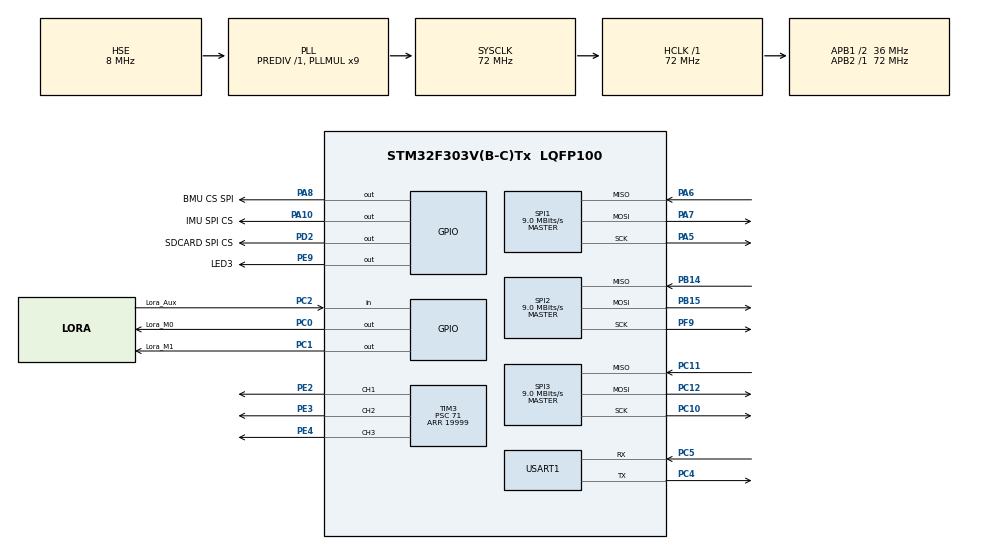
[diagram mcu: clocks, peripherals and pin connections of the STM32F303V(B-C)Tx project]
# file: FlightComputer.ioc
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Mcu.Family=STM32F3
Mcu.Name=STM32F303V(B-C)Tx
Mcu.Package=LQFP100
NVIC.PriorityGroup=NVIC_PRIORITYGROUP_4
NVIC.TIM6_DAC_IRQn=true\:0\:0\:false\:false\:true\:true\:true\:true
PA10.GPIO_Label=IMU SPI CS
PA10.GPIO_PuPd=GPIO_NOPULL
PA10.GPIO_Speed=GPIO_SPEED_FREQ_HIGH
PA10.PinState=GPIO_PIN_SET
PA10.Signal=GPIO_Output
PA5.Mode=Full_Duplex_Master
PA5.Signal=SPI1_SCK
PA6.Mode=Full_Duplex_Master
PA6.Signal=SPI1_MISO
PA7.Mode=Full_Duplex_Master
PA7.Signal=SPI1_MOSI
PA8.GPIO_Label=BMU CS SPI
PA8.GPIO_ModeDefaultOutputPP=GPIO_MODE_OUTPUT_PP
PA8.GPIO_PuPd=GPIO_NOPULL
PA8.GPIO_Speed=GPIO_SPEED_FREQ_HIGH
PA8.PinState=GPIO_PIN_SET
PA8.Signal=GPIO_Output
PB14.Mode=Full_Duplex_Master
PB14.Signal=SPI2_MISO
PB15.Mode=Full_Duplex_Master
PB15.Signal=SPI2_MOSI
PC0.GPIO_Label=Lora_M0
PC0.Signal=GPIO_Output
PC1.GPIO_Label=Lora_M1
PC1.Signal=GPIO_Output
PC10.Mode=Full_Duplex_Master
PC10.Signal=SPI3_SCK
PC11.Mode=Full_Duplex_Master
PC11.Signal=SPI3_MISO
PC12.Mode=Full_Duplex_Master
PC12.Signal=SPI3_MOSI
PC2.GPIO_Label=Lora_Aux
PC2.Signal=GPIO_Input
PC4.Mode=Asynchronous
PC4.Signal=USART1_TX
PC5.Mode=Asynchronous
PC5.Signal=USART1_RX
PD2.GPIO_Label=SDCARD SPI CS
PD2.Signal=GPIO_Output
PE2.Signal=S_TIM3_CH1
PE3.Signal=S_TIM3_CH2
PE4.Signal=S_TIM3_CH3
PE9.GPIO_Label=LED3
PE9.Signal=GPIO_Output
PF0-OSC_IN.Mode=HSE-External-Oscillator
PF0-OSC_IN.Signal=RCC_OSC_IN
PF1-OSC_OUT.Mode=HSE-External-Oscillator
PF1-OSC_OUT.Signal=RCC_OSC_OUT
PF9.Mode=Full_Duplex_Master
PF9.Signal=SPI2_SCK
ProjectManager.HeapSize=0x200
ProjectManager.StackSize=0x400
ProjectManager.TargetToolchain=EWARM V8.32
RCC.AHBFreq_Value=72000000
RCC.APB1CLKDivider=RCC_HCLK_DIV2
RCC.APB1Freq_Value=36000000
RCC.APB1TimFreq_Value=72000000
RCC.APB2Freq_Value=72000000
RCC.APB2TimFreq_Value=72000000
RCC.CortexFreq_Value=72000000
RCC.HCLKFreq_Value=72000000
RCC.HSE_VALUE=8000000
RCC.HSI_VALUE=8000000
RCC.LSE_VALUE=32768
RCC.PLLMUL=RCC_PLL_MUL9
RCC.PLLSourceVirtual=RCC_PLLSOURCE_HSE
RCC.SYSCLKFreq_VALUE=72000000
RCC.SYSCLKSourceVirtual=RCC_SYSCLKSOURCE_PLLCLK
RCC.USBFreq_Value=72000000
SH.S_TIM3_CH1.0=TIM3_CH1,PWM Generation1 CH1
SH.S_TIM3_CH2.0=TIM3_CH2,PWM Generation2 CH2
SH.S_TIM3_CH3.0=TIM3_CH3,PWM Generation3 CH3
SPI1.BaudRatePrescaler=SPI_BAUDRATEPRESCALER_8
SPI1.CalculateBaudRate=9.0 MBits/s
SPI1.DataSize=SPI_DATASIZE_8BIT
SPI1.Direction=SPI_DIRECTION_2LINES
SPI1.Mode=SPI_MODE_MASTER
SPI1.VirtualType=VM_MASTER
SPI2.BaudRatePrescaler=SPI_BAUDRATEPRESCALER_4
SPI2.CalculateBaudRate=9.0 MBits/s
SPI2.DataSize=SPI_DATASIZE_8BIT
SPI2.Direction=SPI_DIRECTION_2LINES
SPI2.Mode=SPI_MODE_MASTER
SPI2.VirtualType=VM_MASTER
SPI3.BaudRatePrescaler=SPI_BAUDRATEPRESCALER_4
SPI3.CalculateBaudRate=9.0 MBits/s
SPI3.DataSize=SPI_DATASIZE_8BIT
SPI3.Direction=SPI_DIRECTION_2LINES
SPI3.Mode=SPI_MODE_MASTER
SPI3.VirtualType=VM_MASTER
TIM3.Channel-PWM\ Generation1\ CH1=TIM_CHANNEL_1
TIM3.Channel-PWM\ Generation2\ CH2=TIM_CHANNEL_2
TIM3.Channel-PWM\ Generation3\ CH3=TIM_CHANNEL_3
TIM3.Period=19999
TIM3.Prescaler=71
TIM6.Period=49
TIM6.Prescaler=7199
USART1.VirtualMode-Asynchronous=VM_ASYNC
VP_FATFS_VS_Generic.Mode=User_defined
VP_TIM6_VS_ClockSourceINT.Mode=Enable_Timer
board=custom

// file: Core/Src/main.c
/* USER CODE BEGIN Header */
/**
  ******************************************************************************
  * @file           : main.c
  * @brief          : Main program body
  ******************************************************************************
  * @attention
  *
  * Copyright (c) 2026 STMicroelectronics.
  * All rights reserved.
  *
  * This software is licensed under terms that can be found in the LICENSE file
  * in the root directory of this software component.
  * If no LICENSE file comes with this software, it is provided AS-IS.
  *
  ******************************************************************************
  */
/* USER CODE END Header */
#include "main.h"
#include "fatfs.h"

/* USER CODE BEGIN Includes */
#include "lsm6dsox.h"
#include "BMP388.h"
#include "servo.h"
#include <stdio.h>
#include <stdlib.h>
#include <math.h>
/* USER CODE END Includes */

/* USER CODE BEGIN PTD */
typedef enum {
    STATE_IDLE,
    STATE_ARMED,
    STATE_BOOST,
    STATE_COAST,
    STATE_APOGEE,
    STATE_DESCENT,
    STATE_LANDED
} FlightState_t;

/* USER CODE END PTD */

SPI_HandleTypeDef hspi1;
SPI_HandleTypeDef hspi2;
SPI_HandleTypeDef hspi3;

TIM_HandleTypeDef htim3;
TIM_HandleTypeDef htim6;

IWDG_HandleTypeDef hiwdg;

UART_HandleTypeDef huart1;

/* USER CODE BEGIN PV */
LSM6DSOX_Axes_t gyroAxes;
LSM6DSOX_Axes_t accelAxes;
volatile uint8_t logFlag = 0;
FRESULT sdResult = FR_NOT_READY;
BMP388_Data_t bmpData;
uint8_t rxByte;
char rxBuf[16];
uint8_t rxIdx = 0;
FlightState_t flightState = STATE_ARMED;
float launchAltitude = 0.0f;
float maxAltitude = 0.0f;
uint32_t landedTicks = 0;

/* USER CODE END PV */

void SystemClock_Config(void);
static void MX_GPIO_Init(void);
static void MX_SPI1_Init(void);
static void MX_SPI2_Init(void);
static void MX_SPI3_Init(void);
static void MX_TIM3_Init(void);
static void MX_TIM6_Init(void);
static void MX_USART1_UART_Init(void);
static void MX_IWDG_Init(void);

int main(void)
{

  /* MCU Configuration--------------------------------------------------------*/

  /* Reset of all peripherals, Initializes the Flash interface and the Systick. */
  HAL_Init();

  /* Configure the system clock */
  SystemClock_Config();

  /* Initialize all configured peripherals */
  MX_GPIO_Init();
  MX_SPI1_Init();
  MX_SPI2_Init();
  MX_SPI3_Init();
  MX_TIM3_Init();
  MX_TIM6_Init();
  MX_USART1_UART_Init();
  MX_FATFS_Init();
  MX_IWDG_Init();
  /* USER CODE BEGIN 2 */
  // Raw WHO_AM_I reads before init
  {
      uint8_t tx, rx;
      char dbg[64];
      int n;

      // IMU raw read (reg 0x0F | 0x80 = read)
      tx = 0x0F | 0x80;
      rx = 0;
      HAL_GPIO_WritePin(IMU_SPI_CS_GPIO_Port, IMU_SPI_CS_Pin, GPIO_PIN_RESET);
      HAL_SPI_Transmit(&hspi1, &tx, 1, 10);
      HAL_SPI_Receive(&hspi1, &rx, 1, 10);
      HAL_GPIO_WritePin(IMU_SPI_CS_GPIO_Port, IMU_SPI_CS_Pin, GPIO_PIN_SET);
      n = sprintf(dbg, "IMU_RAW:0x%02X (expect 0x6C)\r\n", rx);
      HAL_UART_Transmit(&huart1, (uint8_t*)dbg, n, 100);

      // BMP raw read (reg 0x00 | 0x80, then discard dummy byte)
      tx = 0x00 | 0x80;
      rx = 0;
      uint8_t dummy;
      HAL_GPIO_WritePin(BMU_CS_SPI_GPIO_Port, BMU_CS_SPI_Pin, GPIO_PIN_RESET);
      HAL_SPI_Transmit(&hspi2, &tx, 1, 10);
      HAL_SPI_Receive(&hspi2, &dummy, 1, 10);
      HAL_SPI_Receive(&hspi2, &rx, 1, 10);
      HAL_GPIO_WritePin(BMU_CS_SPI_GPIO_Port, BMU_CS_SPI_Pin, GPIO_PIN_SET);
      n = sprintf(dbg, "BMP_RAW:0x%02X (expect 0x50)\r\n", rx);
      HAL_UART_Transmit(&huart1, (uint8_t*)dbg, n, 100);
  }

  uint8_t imuOk = LSM6DSOX_Init(&hspi1);
  uint8_t bmpOk = BMP388_Init(&hspi2);
  {
      char dbg[64];
      int n = sprintf(dbg, "IMU_INIT:%d BMP_INIT:%d\r\n", imuOk, bmpOk);
      HAL_UART_Transmit(&huart1, (uint8_t*)dbg, n, 100);
  }
  if (!imuOk || !bmpOk) {
      // Sensor init failed — blink LED fast and halt, do not fly
      while (1) {
          HAL_GPIO_TogglePin(LED3_GPIO_Port, LED3_Pin);
          HAL_Delay(100);
      }
  }
  // Dump first 6 BMP388 calibration bytes raw
  {
      uint8_t tx = 0x31 | 0x80;
      uint8_t cal[6] = {0};
      uint8_t dummy;
      HAL_GPIO_WritePin(BMU_CS_SPI_GPIO_Port, BMU_CS_SPI_Pin, GPIO_PIN_RESET);
      HAL_SPI_Transmit(&hspi2, &tx, 1, 10);
      HAL_SPI_Receive(&hspi2, &dummy, 1, 10);
      HAL_SPI_Receive(&hspi2, cal, 6, 10);
      HAL_GPIO_WritePin(BMU_CS_SPI_GPIO_Port, BMU_CS_SPI_Pin, GPIO_PIN_SET);
      char dbg[64];
      int n = sprintf(dbg, "CAL:%02X %02X %02X %02X %02X %02X\r\n",
                      cal[0],cal[1],cal[2],cal[3],cal[4],cal[5]);
      HAL_UART_Transmit(&huart1, (uint8_t*)dbg, n, 100);
  }
  HAL_Delay(50);
  BMP388_Read(&hspi2, &bmpData);
  launchAltitude = (float)bmpData.altitude;
  maxAltitude = launchAltitude;
  HAL_TIM_Base_Start_IT(&htim6);
  Servo_Init(&htim3);
  HAL_UART_Receive_IT(&huart1, &rxByte, 1);
  sdResult = f_mount(&USERFatFS, USERPath, 1);
  if (sdResult == FR_OK) {
      sdResult = f_open(&USERFile, "LOG.CSV", FA_OPEN_ALWAYS | FA_WRITE);
      if (sdResult == FR_OK) {
          f_lseek(&USERFile, f_size(&USERFile)); // seek to end for append
      }
  }
  /* USER CODE END 2 */

  /* Infinite loop */
  while (1)
  {

    /* USER CODE BEGIN 3 */
    HAL_IWDG_Refresh(&hiwdg); //refresh watchdog to prevent reset, will reset if main loop is stuck for more than ~1.5s
    if (logFlag) {
        logFlag = 0; // clear flag immediately in case SD write is slow to avoid missing samples
        HAL_GPIO_TogglePin(LED3_GPIO_Port, LED3_Pin);
        if (sdResult == FR_OK) { // only attempt to log if SD is working
            char line[96];
            UINT bw;
            int len = sprintf(line, "%d,%d,%d,%d,%d,%d,%.2f,%.2f\r\n",
                accelAxes.x, accelAxes.y, accelAxes.z,
                gyroAxes.x, gyroAxes.y, gyroAxes.z,
                bmpData.pressure, bmpData.temperature);
            f_write(&USERFile, (uint8_t*)line, len, &bw);
            f_sync(&USERFile);
        }
    }
  }
  /* USER CODE END 3 */
}

void SystemClock_Config(void)
{
  RCC_OscInitTypeDef RCC_OscInitStruct = {0};
  RCC_ClkInitTypeDef RCC_ClkInitStruct = {0};
  RCC_PeriphCLKInitTypeDef PeriphClkInit = {0};

  /** Initializes the RCC Oscillators according to the specified parameters
  * in the RCC_OscInitTypeDef structure.
  */
  RCC_OscInitStruct.OscillatorType = RCC_OSCILLATORTYPE_HSE;
  RCC_OscInitStruct.HSEState = RCC_HSE_ON;
  RCC_OscInitStruct.HSEPredivValue = RCC_HSE_PREDIV_DIV1;
  RCC_OscInitStruct.HSIState = RCC_HSI_ON;
  RCC_OscInitStruct.PLL.PLLState = RCC_PLL_ON;
  RCC_OscInitStruct.PLL.PLLSource = RCC_PLLSOURCE_HSE;
  RCC_OscInitStruct.PLL.PLLMUL = RCC_PLL_MUL9;
  if (HAL_RCC_OscConfig(&RCC_OscInitStruct) != HAL_OK)
  {
    Error_Handler();
  }

  /** Initializes the CPU, AHB and APB buses clocks
  */
  RCC_ClkInitStruct.ClockType = RCC_CLOCKTYPE_HCLK|RCC_CLOCKTYPE_SYSCLK
                              |RCC_CLOCKTYPE_PCLK1|RCC_CLOCKTYPE_PCLK2;
  RCC_ClkInitStruct.SYSCLKSource = RCC_SYSCLKSOURCE_PLLCLK;
  RCC_ClkInitStruct.AHBCLKDivider = RCC_SYSCLK_DIV1;
  RCC_ClkInitStruct.APB1CLKDivider = RCC_HCLK_DIV2;
  RCC_ClkInitStruct.APB2CLKDivider = RCC_HCLK_DIV1;

  if (HAL_RCC_ClockConfig(&RCC_ClkInitStruct, FLASH_LATENCY_2) != HAL_OK)
  {
    Error_Handler();
  }
  PeriphClkInit.PeriphClockSelection = RCC_PERIPHCLK_USART1;
  PeriphClkInit.Usart1ClockSelection = RCC_USART1CLKSOURCE_PCLK2;
  if (HAL_RCCEx_PeriphCLKConfig(&PeriphClkInit) != HAL_OK)
  {
    Error_Handler();
  }
}

static void MX_SPI1_Init(void)
{

  /* SPI1 parameter configuration*/
  hspi1.Instance = SPI1;
  hspi1.Init.Mode = SPI_MODE_MASTER;
  hspi1.Init.Direction = SPI_DIRECTION_2LINES;
  hspi1.Init.DataSize = SPI_DATASIZE_8BIT;
  hspi1.Init.CLKPolarity = SPI_POLARITY_LOW;
  hspi1.Init.CLKPhase = SPI_PHASE_1EDGE;
  hspi1.Init.NSS = SPI_NSS_SOFT;
  hspi1.Init.BaudRatePrescaler = SPI_BAUDRATEPRESCALER_8;
  hspi1.Init.FirstBit = SPI_FIRSTBIT_MSB;
  hspi1.Init.TIMode = SPI_TIMODE_DISABLE;
  hspi1.Init.CRCCalculation = SPI_CRCCALCULATION_DISABLE;
  hspi1.Init.CRCPolynomial = 7;
  hspi1.Init.CRCLength = SPI_CRC_LENGTH_DATASIZE;
  hspi1.Init.NSSPMode = SPI_NSS_PULSE_ENABLE;
  if (HAL_SPI_Init(&hspi1) != HAL_OK)
  {
    Error_Handler();
  }

}

static void MX_SPI2_Init(void)
{

  /* SPI2 parameter configuration*/
  hspi2.Instance = SPI2;
  hspi2.Init.Mode = SPI_MODE_MASTER;
  hspi2.Init.Direction = SPI_DIRECTION_2LINES;
  hspi2.Init.DataSize = SPI_DATASIZE_8BIT;
  hspi2.Init.CLKPolarity = SPI_POLARITY_LOW;
  hspi2.Init.CLKPhase = SPI_PHASE_1EDGE;
  hspi2.Init.NSS = SPI_NSS_SOFT;
  hspi2.Init.BaudRatePrescaler = SPI_BAUDRATEPRESCALER_4;
  hspi2.Init.FirstBit = SPI_FIRSTBIT_MSB;
  hspi2.Init.TIMode = SPI_TIMODE_DISABLE;
  hspi2.Init.CRCCalculation = SPI_CRCCALCULATION_DISABLE;
  hspi2.Init.CRCPolynomial = 7;
  hspi2.Init.CRCLength = SPI_CRC_LENGTH_DATASIZE;
  hspi2.Init.NSSPMode = SPI_NSS_PULSE_ENABLE;
  if (HAL_SPI_Init(&hspi2) != HAL_OK)
  {
    Error_Handler();
  }

}

static void MX_SPI3_Init(void)
{

  /* SPI3 parameter configuration*/
  hspi3.Instance = SPI3;
  hspi3.Init.Mode = SPI_MODE_MASTER;
  hspi3.Init.Direction = SPI_DIRECTION_2LINES;
  hspi3.Init.DataSize = SPI_DATASIZE_8BIT;
  hspi3.Init.CLKPolarity = SPI_POLARITY_LOW;
  hspi3.Init.CLKPhase = SPI_PHASE_1EDGE;
  hspi3.Init.NSS = SPI_NSS_SOFT;
  hspi3.Init.BaudRatePrescaler = SPI_BAUDRATEPRESCALER_4;
  hspi3.Init.FirstBit = SPI_FIRSTBIT_MSB;
  hspi3.Init.TIMode = SPI_TIMODE_DISABLE;
  hspi3.Init.CRCCalculation = SPI_CRCCALCULATION_DISABLE;
  hspi3.Init.CRCPolynomial = 7;
  hspi3.Init.CRCLength = SPI_CRC_LENGTH_DATASIZE;
  hspi3.Init.NSSPMode = SPI_NSS_PULSE_ENABLE;
  if (HAL_SPI_Init(&hspi3) != HAL_OK)
  {
    Error_Handler();
  }

}

static void MX_TIM3_Init(void)
{

  TIM_MasterConfigTypeDef sMasterConfig = {0};
  TIM_OC_InitTypeDef sConfigOC = {0};

  htim3.Instance = TIM3;
  htim3.Init.Prescaler = 71;
  htim3.Init.CounterMode = TIM_COUNTERMODE_UP;
  htim3.Init.Period = 19999;
  htim3.Init.ClockDivision = TIM_CLOCKDIVISION_DIV1;
  htim3.Init.AutoReloadPreload = TIM_AUTORELOAD_PRELOAD_DISABLE;
  if (HAL_TIM_PWM_Init(&htim3) != HAL_OK)
  {
    Error_Handler();
  }
  sMasterConfig.MasterOutputTrigger = TIM_TRGO_RESET;
  sMasterConfig.MasterSlaveMode = TIM_MASTERSLAVEMODE_DISABLE;
  if (HAL_TIMEx_MasterConfigSynchronization(&htim3, &sMasterConfig) != HAL_OK)
  {
    Error_Handler();
  }
  sConfigOC.OCMode = TIM_OCMODE_PWM1;
  sConfigOC.Pulse = 0;
  sConfigOC.OCPolarity = TIM_OCPOLARITY_HIGH;
  sConfigOC.OCFastMode = TIM_OCFAST_DISABLE;
  if (HAL_TIM_PWM_ConfigChannel(&htim3, &sConfigOC, TIM_CHANNEL_1) != HAL_OK)
  {
    Error_Handler();
  }
  if (HAL_TIM_PWM_ConfigChannel(&htim3, &sConfigOC, TIM_CHANNEL_2) != HAL_OK)
  {
    Error_Handler();
  }
  if (HAL_TIM_PWM_ConfigChannel(&htim3, &sConfigOC, TIM_CHANNEL_3) != HAL_OK)
  {
    Error_Handler();
  }
  HAL_TIM_MspPostInit(&htim3);

}

static void MX_TIM6_Init(void)
{

  TIM_MasterConfigTypeDef sMasterConfig = {0};

  htim6.Instance = TIM6;
  htim6.Init.Prescaler = 7199;
  htim6.Init.CounterMode = TIM_COUNTERMODE_UP;
  htim6.Init.Period = 49;
  htim6.Init.AutoReloadPreload = TIM_AUTORELOAD_PRELOAD_DISABLE;
  if (HAL_TIM_Base_Init(&htim6) != HAL_OK)
  {
    Error_Handler();
  }
  sMasterConfig.MasterOutputTrigger = TIM_TRGO_RESET;
  sMasterConfig.MasterSlaveMode = TIM_MASTERSLAVEMODE_DISABLE;
  if (HAL_TIMEx_MasterConfigSynchronization(&htim6, &sMasterConfig) != HAL_OK)
  {
    Error_Handler();
  }

}

static void MX_USART1_UART_Init(void)
{

  huart1.Instance = USART1;
  huart1.Init.BaudRate = 38400;
  huart1.Init.WordLength = UART_WORDLENGTH_8B;
  huart1.Init.StopBits = UART_STOPBITS_1;
  huart1.Init.Parity = UART_PARITY_NONE;
  huart1.Init.Mode = UART_MODE_TX_RX;
  huart1.Init.HwFlowCtl = UART_HWCONTROL_NONE;
  huart1.Init.OverSampling = UART_OVERSAMPLING_16;
  huart1.Init.OneBitSampling = UART_ONE_BIT_SAMPLE_DISABLE;
  huart1.AdvancedInit.AdvFeatureInit = UART_ADVFEATURE_NO_INIT;
  if (HAL_UART_Init(&huart1) != HAL_OK)
  {
    Error_Handler();
  }

}

static void MX_IWDG_Init(void)
{
    hiwdg.Instance = IWDG;
    hiwdg.Init.Prescaler = IWDG_PRESCALER_64;  // 40kHz / 64 = 625Hz
    hiwdg.Init.Reload = 624;                    // 624 / 625Hz = ~1 second timeout
    HAL_IWDG_Init(&hiwdg);
}

static void MX_GPIO_Init(void)
{
  GPIO_InitTypeDef GPIO_InitStruct = {0};

  /* GPIO Ports Clock Enable */
  __HAL_RCC_GPIOE_CLK_ENABLE();
  __HAL_RCC_GPIOF_CLK_ENABLE();
  __HAL_RCC_GPIOC_CLK_ENABLE();
  __HAL_RCC_GPIOA_CLK_ENABLE();
  __HAL_RCC_GPIOB_CLK_ENABLE();
  __HAL_RCC_GPIOD_CLK_ENABLE();

  /*Configure GPIO pin Output Level */
  HAL_GPIO_WritePin(GPIOC, Lora_M0_Pin|Lora_M1_Pin, GPIO_PIN_RESET);

  /*Configure GPIO pin Output Level */
  HAL_GPIO_WritePin(LED3_GPIO_Port, LED3_Pin, GPIO_PIN_RESET);

  /*Configure GPIO pin Output Level */
  HAL_GPIO_WritePin(GPIOA, BMU_CS_SPI_Pin|IMU_SPI_CS_Pin, GPIO_PIN_SET);

  /*Configure GPIO pin Output Level */
  HAL_GPIO_WritePin(SDCARD_SPI_CS_GPIO_Port, SDCARD_SPI_CS_Pin, GPIO_PIN_SET);

  /*Configure GPIO pins : Lora_M0_Pin Lora_M1_Pin */
  GPIO_InitStruct.Pin = Lora_M0_Pin|Lora_M1_Pin;
  GPIO_InitStruct.Mode = GPIO_MODE_OUTPUT_PP;
  GPIO_InitStruct.Pull = GPIO_NOPULL;
  GPIO_InitStruct.Speed = GPIO_SPEED_FREQ_LOW;
  HAL_GPIO_Init(GPIOC, &GPIO_InitStruct);

  /*Configure GPIO pin : Lora_Aux_Pin */
  GPIO_InitStruct.Pin = Lora_Aux_Pin;
  GPIO_InitStruct.Mode = GPIO_MODE_INPUT;
  GPIO_InitStruct.Pull = GPIO_NOPULL;
  HAL_GPIO_Init(Lora_Aux_GPIO_Port, &GPIO_InitStruct);

  /*Configure GPIO pin : LED3_Pin */
  GPIO_InitStruct.Pin = LED3_Pin;
  GPIO_InitStruct.Mode = GPIO_MODE_OUTPUT_PP;
  GPIO_InitStruct.Pull = GPIO_NOPULL;
  GPIO_InitStruct.Speed = GPIO_SPEED_FREQ_LOW;
  HAL_GPIO_Init(LED3_GPIO_Port, &GPIO_InitStruct);

  /*Configure GPIO pins : BMU_CS_SPI_Pin IMU_SPI_CS_Pin */
  GPIO_InitStruct.Pin = BMU_CS_SPI_Pin|IMU_SPI_CS_Pin;
  GPIO_InitStruct.Mode = GPIO_MODE_OUTPUT_PP;
  GPIO_InitStruct.Pull = GPIO_NOPULL;
  GPIO_InitStruct.Speed = GPIO_SPEED_FREQ_HIGH;
  HAL_GPIO_Init(GPIOA, &GPIO_InitStruct);

  /*Configure GPIO pin : SDCARD_SPI_CS_Pin */
  GPIO_InitStruct.Pin = SDCARD_SPI_CS_Pin;
  GPIO_InitStruct.Mode = GPIO_MODE_OUTPUT_PP;
  GPIO_InitStruct.Pull = GPIO_NOPULL;
  GPIO_InitStruct.Speed = GPIO_SPEED_FREQ_LOW;
  HAL_GPIO_Init(SDCARD_SPI_CS_GPIO_Port, &GPIO_InitStruct);

}

/* USER CODE BEGIN 4 */
//flight state machine
static void RunStateMachine(void)
{
    float alt     = (float)bmpData.altitude;
    float ax      = accelAxes.x / 16384.0f;
    float ay      = accelAxes.y / 16384.0f;
    float az      = accelAxes.z / 16384.0f;
    float accel_g = sqrtf(ax*ax + ay*ay + az*az);

    switch (flightState)
    {
        case STATE_IDLE:
            break;

        case STATE_ARMED:
            if (accel_g > 2.5f)
                flightState = STATE_BOOST;
            break;

        case STATE_BOOST:
            if (alt > maxAltitude) maxAltitude = alt;
            if (accel_g < 1.2f)
                flightState = STATE_COAST;
            break;

        case STATE_COAST:
            if (alt > maxAltitude) maxAltitude = alt;
            if (alt < maxAltitude - 5.0f)
                flightState = STATE_APOGEE;
            break;

        case STATE_APOGEE:
            flightState = STATE_DESCENT;
            break;

        case STATE_DESCENT:
            if (alt < launchAltitude + 20.0f) {
                landedTicks++;
                if (landedTicks > 2000)
                    flightState = STATE_LANDED;
            } else {
                landedTicks = 0;
            }
            break;

        case STATE_LANDED:
            break;
    }
}

// UART command parser — type "S1:90" to set servo 1 to 90 degrees
// or "S1:1500" for direct pulse width in microseconds
void HAL_UART_RxCpltCallback(UART_HandleTypeDef *huart)
{
    if (huart->Instance == USART1) {
        if (rxByte == '\n' || rxByte == '\r') {
            if (rxIdx > 0) {
                rxBuf[rxIdx] = '\0';
                // Parse "S<n>:<value>"
                if (rxBuf[0] == 'S' && rxIdx >= 4) {
                    uint8_t servo = rxBuf[1] - '0';          // servo number 1-3
                    uint16_t value = (uint16_t)atoi(&rxBuf[3]); // value after ':'
                    if (servo >= 1 && servo <= 3) {
                        if (value <= 180)
                            Servo_SetAngle(&htim3, servo, (uint8_t)value);
                        else
                            Servo_SetPulse(&htim3, servo, value);
                    }
                }
                rxIdx = 0;
            }
        } else if (rxIdx < sizeof(rxBuf) - 1) {
            rxBuf[rxIdx++] = rxByte;
        }
        HAL_UART_Receive_IT(&huart1, &rxByte, 1); // re-arm
    }
}

static uint8_t isSensorDataValid(void)
{
    if (bmpData.pressure < 30000.0 || bmpData.pressure > 110000.0)
        return 0;
    if (bmpData.temperature < -40.0 || bmpData.temperature > 85.0)
        return 0;
    if (flightState == STATE_ARMED) {
        if (accelAxes.z < 14000 || accelAxes.z > 18000)
            return 0;
    }
    return 1;
}

void HAL_TIM_PeriodElapsedCallback(TIM_HandleTypeDef *htim)
{
    if (htim->Instance == TIM6)
    {
        LSM6DSOX_ReadAccel(&hspi1, &accelAxes);
        LSM6DSOX_ReadGyro(&hspi1, &gyroAxes);
        BMP388_Read(&hspi2, &bmpData);
        if (!isSensorDataValid()) return; // reject bad data, don't update state machine
        RunStateMachine();
        static uint32_t count = 0; //important or else it will keep resetting never reaching 100 for interupt
        if (++count >= 100)
        {
            count = 0;
            logFlag = 1;
            static const char *stateNames[] = {
                "IDLE","ARMED","BOOST","COAST","APOGEE","DESCENT","LANDED"
            };
            char msg[128];
            int len = sprintf(msg, "AX:%d AY:%d AZ:%d GX:%d GY:%d GZ:%d P:%.2f T:%.2f ALT:%.1f ST:%s\r\n",
            accelAxes.x, accelAxes.y, accelAxes.z,
                gyroAxes.x, gyroAxes.y, gyroAxes.z,
                bmpData.pressure, bmpData.temperature,
                bmpData.altitude, stateNames[flightState]);
            HAL_UART_Transmit(&huart1, (uint8_t*)msg, len, 100);
        }
    }
}

/* USER CODE END 4 */

void Error_Handler(void)
{
  __disable_irq();
  while (1)
  {
  }
}
